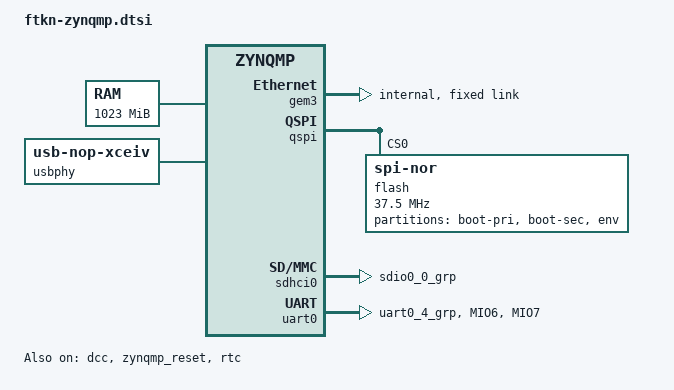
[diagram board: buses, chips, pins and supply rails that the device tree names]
// SPDX-License-Identifier: GPL-2.0+
/*
 * dts file for FTKN zynqmp
*/



#include "zynqmp.dtsi"
#include "zynqmp-clk-ccf.dtsi"
#include "ftkn-zynqmp-pl.dtsi"
#include <dt-bindings/input/input.h>
#include <dt-bindings/gpio/gpio.h>
#include <dt-bindings/pinctrl/pinctrl-zynqmp.h>
#include <dt-bindings/phy/phy.h>

/ {

	aliases {
		ethernet0 = &gem3;
		gpio0 = &axi_gpio_0;
		i2c0 = &i2c0;
		mmc0 = &sdhci0;
		rtc0 = &rtc;
		serial0 = &uart0;
		spi0 = &qspi;
		spi1 = &spi0;
	};

	chosen {
		bootargs = "earlycon";
		stdout-path = "serial0:115200n8";
	};

	memory {
		device_type = "memory";
		reg = <0x0 0x0 0x0 0x3ff00000>;
	};

	usb2_clk: usb_2clk {
		u-boot,dm-pre-reloc;
		compatible = "fixed-clock";
		#clock-cells = <0>;
		clock-frequency = <24000000>;
	};

	/* ULPI SMSC USB3320 */
	usbphy: phy {
		compatible = "usb-nop-xceiv";
		#phy-cells = <0>;
		clocks = <&usb2_clk>;
		clock-names = "ref";
	};
};

&axi_gpio_0 {
	status = "okay";
};

&spi0 {
	status = "disabled";
	num-cs = <1>;
	pinctrl-names = "default";
	pincctrl-0 = <&pinctrl_spi0_default>;
};

&can1 {
	status = "disabled";
	pinctrl-names = "default";
	pinctrl-0 = <&pinctrl_can1_default>;
};

&dcc {
	status = "okay";
};

&fpd_dma_chan1 {
	status = "okay";
};

&fpd_dma_chan2 {
	status = "okay";
};

&fpd_dma_chan3 {
	status = "okay";
};

&fpd_dma_chan4 {
	status = "okay";
};

&fpd_dma_chan5 {
	status = "okay";
};

&fpd_dma_chan6 {
	status = "okay";
};

&fpd_dma_chan7 {
	status = "okay";
};

&fpd_dma_chan8 {
	status = "okay";
};

&gem3 {
	status = "okay";
	phy-mode = "internal";
	fixed-link {
		speed = <1000>;
		full-duplex;
	};
};

&gic {
	num_cpus = <2>;
	num_interrupts = <96>;
};
&lpd_dma_chan1 {
	status = "okay";
};
&lpd_dma_chan2 {
	status = "okay";
};
&lpd_dma_chan3 {
	status = "okay";
};
&lpd_dma_chan4 {
	status = "okay";
};
&lpd_dma_chan5 {
	status = "okay";
};
&lpd_dma_chan6 {
	status = "okay";
};
&lpd_dma_chan7 {
	status = "okay";
};
&lpd_dma_chan8 {
	status = "okay";
};

&gpio {
	status = "disabled";
	pinctrl-names = "default";
	pinctrl-0 = <&pinctrl_gpio_default>;
};

&gpu {
	status = "disabled";
};

&pinctrl0 {
	status = "okay";
	pinctrl_i2c0_default: i2c0-default {
		mux {
			groups = "i2c0_16_grp";
			function = "i2c0";
		};

		conf {
			groups = "i2c0_16_grp";
			bias-pull-up;
			slew-rate = <SLEW_RATE_SLOW>;
			io-standard = <IO_STANDARD_LVCMOS18>;
		};
	};

	pinctrl_i2c0_gpio: i2c0-gpio {
		mux {
			groups = "gpio0_64_grp", "gpio0_65_grp";
			function = "gpio0";
		};

		conf {
			groups = "gpio0_64_grp", "gpio0_65_grp";
			slew-rate = <SLEW_RATE_SLOW>;
			io-standard = <IO_STANDARD_LVCMOS18>;
		};
	};

	pinctrl_i2c0_org: i2c0-default-org {
		mux {
			groups = "i2c0_13_grp";
			function = "i2c0";
		};

		conf {
			groups = "i2c0_13_grp";
			bias-pull-up;
			slew-rate = <SLEW_RATE_SLOW>;
			io-standard = <IO_STANDARD_LVCMOS18>;
		};
	};

	pinctrl_i2c0_gpio_org: i2c0-gpio-org {
		mux {
			groups = "gpio0_54_grp", "gpio0_55_grp";
			function = "gpio0";
		};

		conf {
			groups = "gpio0_54_grp", "gpio0_55_grp";
			slew-rate = <SLEW_RATE_SLOW>;
			io-standard = <IO_STANDARD_LVCMOS18>;
		};
	};

	pinctrl_i2c1_default: i2c1-default {
		mux {
			groups = "i2c1_4_grp";
			function = "i2c1";
		};

		conf {
			groups = "i2c1_4_grp";
			bias-pull-up;
			slew-rate = <SLEW_RATE_SLOW>;
			io-standard = <IO_STANDARD_LVCMOS18>;
		};
	};

	pinctrl_i2c1_gpio: i2c1-gpio {
		mux {
			groups = "gpio0_16_grp", "gpio0_17_grp";
			function = "gpio0";
		};

		conf {
			groups = "gpio0_16_grp", "gpio0_17_grp";
			slew-rate = <SLEW_RATE_SLOW>;
			io-standard = <IO_STANDARD_LVCMOS18>;
		};
	};

	pinctrl_uart0_default: uart0-default {
		mux {
			groups = "uart0_4_grp";
			function = "uart0";
		};

		conf {
			groups = "uart0_4_grp";
			slew-rate = <SLEW_RATE_SLOW>;
			io-standard = <IO_STANDARD_LVCMOS33>;
		};

		conf-rx {
			pins = "MIO6";
			bias-high-impedance;
		};

		conf-tx {
			pins = "MIO7";
			bias-disable;
		};
	};

	pinctrl_uart1_default: uart1-default {
		mux {
			groups = "uart1_5_grp";
			function = "uart1";
		};

		conf {
			groups = "uart1_5_grp";
			slew-rate = <SLEW_RATE_SLOW>;
			io-standard = <IO_STANDARD_LVCMOS18>;
		};

		conf-rx {
			pins = "MIO21";
			bias-high-impedance;
		};

		conf-tx {
			pins = "MIO20";
			bias-disable;
		};
	};

	pinctrl_usb0_default: usb0-default {
		mux {
			groups = "usb0_0_grp";
			function = "usb0";
		};

		conf {
			groups = "usb0_0_grp";
			slew-rate = <SLEW_RATE_SLOW>;
			io-standard = <IO_STANDARD_LVCMOS18>;
		};

		conf-rx {
			pins = "MIO52", "MIO53", "MIO55";
			bias-high-impedance;
		};

		conf-tx {
			pins = "MIO54", "MIO56", "MIO57", "MIO58", "MIO59",
			       "MIO60", "MIO61", "MIO62", "MIO63";
			bias-disable;
		};
	};

	pinctrl_usb1_default: usb1-default {
		mux {
			groups = "usb1_0_grp";
			function = "usb1";
		};

		conf {
			groups = "usb1_0_grp";
			slew-rate = <SLEW_RATE_SLOW>;
			io-standard = <IO_STANDARD_LVCMOS33>;
		};

		conf-rx {
			pins = "MIO64", "MIO65", "MIO67";
			bias-high-impedance;
		};

		conf-tx {
			pins = "MIO66", "MIO68", "MIO69", "MIO70", "MIO71",
			       "MIO72", "MIO73", "MIO74", "MIO75";
			bias-disable;
		};
	};

	pinctrl_gem3_default: gem3-default {
		mux {
			function = "ethernet3";
			groups = "ethernet3_0_grp";
		};

		conf {
			groups = "ethernet3_0_grp";
			slew-rate = <SLEW_RATE_SLOW>;
			io-standard = <IO_STANDARD_LVCMOS18>;
		};

		conf-rx {
			pins = "MIO70", "MIO71", "MIO72", "MIO73", "MIO74",
									"MIO75";
			bias-high-impedance;
			low-power-disable;
		};

		conf-tx {
			pins = "MIO64", "MIO65", "MIO66", "MIO67", "MIO68",
									"MIO69";
			bias-disable;
			low-power-enable;
		};

		mux-mdio {
			function = "mdio3";
			groups = "mdio3_0_grp";
		};

		conf-mdio {
			groups = "mdio3_0_grp";
			slew-rate = <SLEW_RATE_SLOW>;
			io-standard = <IO_STANDARD_LVCMOS18>;
			bias-disable;
		};
	};

	pinctrl_can1_default: can1-default {
		mux {
			function = "can1";
			groups = "can1_6_grp";
		};

		conf {
			groups = "can1_6_grp";
			slew-rate = <SLEW_RATE_SLOW>;
			io-standard = <IO_STANDARD_LVCMOS18>;
		};

		conf-rx {
			pins = "MIO25";
			bias-high-impedance;
		};

		conf-tx {
			pins = "MIO24";
			bias-disable;
		};
	};

	pinctrl_sdhci0_default: sdhci0-default {
		mux {
			groups = "sdio0_0_grp";
			function = "sdio1";
		};

		conf {
			groups = "sdio0_0_grp";
			slew-rate = <SLEW_RATE_SLOW>;
			io-standard = <IO_STANDARD_LVCMOS18>;
			bias-disable;
		};

	};

	pinctrl_gpio_default: gpio-default {
		mux {
			function = "gpio0";
			groups = "gpio0_22_grp", "gpio0_23_grp";
		};

		conf {
			groups = "gpio0_22_grp", "gpio0_23_grp";
			slew-rate = <SLEW_RATE_SLOW>;
			io-standard = <IO_STANDARD_LVCMOS18>;
		};

		mux-msp {
			function = "gpio0";
			groups = "gpio0_13_grp", "gpio0_38_grp";
		};

		conf-msp {
			groups = "gpio0_13_grp", "gpio0_38_grp";
			slew-rate = <SLEW_RATE_SLOW>;
			io-standard = <IO_STANDARD_LVCMOS18>;
		};

		conf-pull-up {
			pins = "MIO22";
			bias-pull-up;
		};

		conf-pull-none {
			pins = "MIO13", "MIO23", "MIO38";
			bias-disable;
		};
	};

	pinctrl_spi0_default: spi0-default {
		mux {
			groups = "spi0_1_grp";
			function = "spi0";
		};

		conf {
			groups = "spi0_1_grp";
			bias-disable;
			slew-rate = <SLEW_RATE_SLOW>;
			io-standard = <IO_STANDARD_LVCMOS33>;
		};

		mux-cs {
			groups = "spi0_ss_3_grp";
			function = "spi0_ss";
		};

		conf-cs {
			groups = "spi0_ss_3_grp";
			bias-disable;
		};
	};
};

&zynqmp_reset {
	status = "okay";
};

&qspi {
	status = "okay";
	is-dual = <0>;
	flash: flash@0 {
		compatible = "jedec,spi-nor"; /* 64MB Macronix */
		#address-cells = <1>;
		#size-cells = <1>;
		reg = <0x0>;
		spi-tx-bus-width = <1>;
		spi-rx-bus-width = <4>;
		spi-max-frequency = <37500000>;
		partition@0 { /* SPL and u-boot */
			label = "boot-pri";
			reg = <0x0 0x1000000>;
		};
		partition@10000000 { /* Backup boot files */
			label = "boot-sec";
			reg = <0x1000000 0x1000000>;
		};
		partition@2000000 { /* uboot env*/
			label = "env";
			reg = <0x2000000 0x100000>;
		};
	};
};

&rtc {
	status = "okay";
};

&sata {
	status = "disabled";
};

&sdhci0 {
	status = "okay";
	pinctrl-names = "default";
	pinctrl-0 = <&pinctrl_sdhci0_default>;
	xlnx,mio_bank = <1>;
	no-1-8-v;
};

&uart0 {
	status = "okay";
	u-boot,dm-pre-reloc;
	pinctrl-names = "default";
	pinctrl-0 = <&pinctrl_uart0_default>;
};

&uart1 {
	status = "disabled";
	pinctrl-names = "default";
	pinctrl-0 = <&pinctrl_uart1_default>;
};

&watchdog0 {
	status = "disabled";
};
